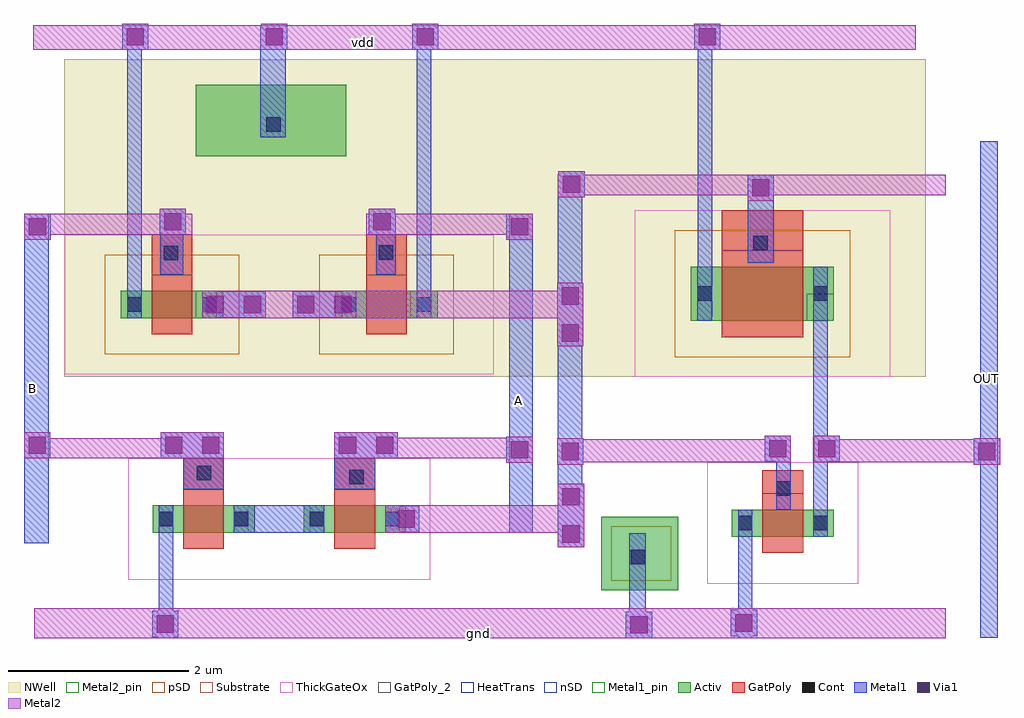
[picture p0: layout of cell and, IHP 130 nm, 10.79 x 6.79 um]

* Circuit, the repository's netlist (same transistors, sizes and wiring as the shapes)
** sch_path: /home/designer/shared/unicass_2026/Design_Files/github_clone_circuit_/UNI-CASS_Project_2025_IIT_DH/Clock_gen_using_transistor_hv/and.sch
.subckt and vdd B A gnd out
*.PININFO vdd:B B:B A:B gnd:B out:B
M3 net1 A vdd vdd sg13_hv_pmos w=0.3u l=0.45u ng=1 m=1
M1 net2 B gnd gnd sg13_hv_nmos w=0.3u l=0.45u ng=1 m=1
M2 net1 A net2 gnd sg13_hv_nmos w=0.3u l=0.45u ng=1 m=1
M4 net1 B vdd vdd sg13_hv_pmos w=0.3u l=0.45u ng=1 m=1
M5 out net1 vdd vdd sg13_hv_pmos w=0.6u l=0.9u ng=1 m=1
M6 out net1 gnd gnd sg13_hv_nmos w=0.3u l=0.45u ng=1 m=1
.ends

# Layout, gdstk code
import gdstk
lib = gdstk.Library(unit=1e-6, precision=1e-09)
def R(c, l, rs):  # rectangles x0, y0, x1, y1
    for r in rs: c.add(gdstk.rectangle(r[:2], r[2:], *l))
def P(c, l, *ps):  # polygons
    for p in ps: c.add(gdstk.Polygon(p, *l))
Activ = (1, 0)
GatPoly = (5, 0)
GatPoly_2 = (5, 2)
Cont = (6, 0)
nSD = (7, 0)
Metal1 = (8, 0)
Metal1_pin = (8, 2)
Metal2 = (10, 0)
Metal2_pin = (10, 2)
pSD = (14, 0)
Via1 = (19, 0)
NWell = (31, 0)
Substrate = (40, 0)
ThickGateOx = (44, 0)
HeatTrans = (51, 0)

pmoshv_1 = lib.new_cell('pmosHV$1')
R(pmoshv_1, Activ, [(0,0,0.3,0.3), (0,0,1.13,0.3), (0.83,0,1.13,0.3)])
R(pmoshv_1, GatPoly, [(0.34,-0.18,0.79,0.48)])
R(pmoshv_1, GatPoly_2, [(0.34,-0.18,0.79,0.48)])
R(pmoshv_1, Cont, [(0.07,0.07,0.23,0.23), (0.9,0.07,1.06,0.23)])
R(pmoshv_1, Metal1, [(0.07,0,0.23,0.3), (0.9,0,1.06,0.3)])
R(pmoshv_1, Metal1_pin, [(0.07,0,0.23,0.3), (0.9,0,1.06,0.3)])
R(pmoshv_1, pSD, [(-0.18,-0.4,1.31,0.7)])
R(pmoshv_1, NWell, [(-0.62,-0.62,1.75,0.92)])
R(pmoshv_1, Substrate, [(0.83,0,1.13,0.3)])
R(pmoshv_1, ThickGateOx, [(-0.62,-0.62,1.75,0.92)])
R(pmoshv_1, HeatTrans, [(0.34,-0.18,0.79,0.48)])
pmoshv_1.add(gdstk.Label('pmosHV', (0.565,0.15), layer=63, texttype=0))
pmoshv_1.add(gdstk.Label('pmos', (0.565,0.15), layer=51, texttype=0))

nmoshv_1 = lib.new_cell('nmosHV$1')
R(nmoshv_1, Activ, [(0,0,0.3,0.3), (0,0,1.13,0.3), (0.83,0,1.13,0.3)])
R(nmoshv_1, GatPoly, [(0.34,-0.18,0.79,0.48)])
R(nmoshv_1, GatPoly_2, [(0.34,-0.18,0.79,0.48)])
R(nmoshv_1, Cont, [(0.07,0.07,0.23,0.23), (0.9,0.07,1.06,0.23)])
R(nmoshv_1, Metal1, [(0.07,0,0.23,0.3), (0.9,0,1.06,0.3)])
R(nmoshv_1, Metal1_pin, [(0.07,0,0.23,0.3), (0.9,0,1.06,0.3)])
R(nmoshv_1, ThickGateOx, [(-0.27,-0.52,1.4,0.82)])
R(nmoshv_1, HeatTrans, [(0.34,-0.18,0.79,0.48)])
nmoshv_1.add(gdstk.Label('nmosHV', (0.565,0.15), layer=63, texttype=0))
nmoshv_1.add(gdstk.Label('nmosHV', (0.565,0.15), layer=51, texttype=0))

via_stack_3 = lib.new_cell('via_stack$3')
R(via_stack_3, Metal1, [(-0.145,-0.145,0.145,0.145)])
R(via_stack_3, Metal2, [(-0.145,-0.145,0.145,0.145)])
R(via_stack_3, Via1, [(-0.095,-0.095,0.095,0.095)])

via_stack = lib.new_cell('via_stack')
R(via_stack, Metal1, [(-0.145,-0.35,0.145,0.35)])
R(via_stack, Metal2, [(-0.145,-0.35,0.145,0.35)])
R(via_stack, Via1, [(-0.095,-0.3,0.095,-0.11), (-0.095,0.11,0.095,0.3)])

via_stack_1 = lib.new_cell('via_stack$1')
R(via_stack_1, Metal1, [(-0.35,-0.145,0.35,0.145)])
R(via_stack_1, Metal2, [(-0.35,-0.145,0.35,0.145)])
R(via_stack_1, Via1, [(-0.3,-0.095,-0.11,0.095), (0.11,-0.095,0.3,0.095)])

pmoshv = lib.new_cell('pmosHV')
R(pmoshv, Activ, [(0,0,0.3,0.3), (0,0,1.58,0.6), (1.28,0,1.58,0.3)])
R(pmoshv, GatPoly, [(0.34,-0.18,1.24,0.78)])
R(pmoshv, GatPoly_2, [(0.34,-0.18,1.24,0.78)])
R(pmoshv, Cont, [(0.07,0.22,0.23,0.38), (1.35,0.22,1.51,0.38)])
R(pmoshv, Metal1, [(0.07,0,0.23,0.6), (1.35,0,1.51,0.6)])
R(pmoshv, Metal1_pin, [(0.07,0,0.23,0.6), (1.35,0,1.51,0.6)])
R(pmoshv, pSD, [(-0.18,-0.4,1.76,1)])
R(pmoshv, NWell, [(-0.62,-0.62,2.2,1.22)])
R(pmoshv, Substrate, [(1.28,0,1.58,0.3)])
R(pmoshv, ThickGateOx, [(-0.62,-0.62,2.2,1.22)])
R(pmoshv, HeatTrans, [(0.34,-0.18,1.24,0.78)])
pmoshv.add(gdstk.Label('pmosHV', (0.79,0.3), layer=63, texttype=0))
pmoshv.add(gdstk.Label('pmos', (0.79,0.3), layer=51, texttype=0))

and_ = lib.new_cell('and')
R(and_, Activ, [(-1,-2.61,-0.15,-1.8), (-5.48,2.185,-3.82,2.975)])
R(and_, GatPoly, [(0.78,-1.54,1.23,-1.285), (-5.62,-1.495,-5.17,-1.155), (-3.95,-1.495,-3.5,-1.155), (-5.97,0.875,-5.52,1.315), (-3.6,0.875,-3.15,1.315), (0.33,1.145,1.23,1.585)])
R(and_, Cont, [(-0.675,-2.325,-0.515,-2.165), (0.935,-1.57,1.095,-1.41), (-3.785,-1.44,-3.625,-1.28), (-5.47,-1.395,-5.31,-1.235), (-5.835,1.035,-5.675,1.195), (-3.46,1.04,-3.3,1.2), (0.68,1.145,0.84,1.305), (-4.705,2.455,-4.545,2.615)])
R(and_, nSD, [(-5.48,2.185,-3.82,2.975)])
R(and_, Metal1, [(-5.89,-3.145,-5.73,-1.675), (-0.69,-3.14,-0.51,-1.98), (0.51,-3.14,0.67,-1.79), (3.185,-3.135,3.38,2.35), (-7.38,-2.095,-7.105,1.55), (1.34,-2.02,1.5,0.38), (-1.48,-1.98,-1.21,1.98), (-5.06,-1.975,-4.06,-1.675), (-2.02,-1.975,-1.76,1.55), (0.935,-1.72,1.095,-0.945), (-5.62,-1.495,-5.17,-0.935), (-3.95,-1.495,-3.5,-0.925), (-6.24,0.395,-6.08,3.63), (-3.04,0.395,-2.88,3.63), (0.065,0.405,0.225,3.63), (-5.875,0.875,-5.62,1.55), (-3.49,0.875,-3.27,1.55), (0.62,1.005,0.905,1.97), (-4.77,2.395,-4.49,3.63)])
R(and_, Metal1_pin, [(3.185,-3.135,3.38,2.35), (-7.38,-2.095,-7.105,1.55), (-2.02,-1.975,-1.76,1.55)])
R(and_, Metal2, [(-3.39,-1.975,-1.19,-1.675), (-1.48,-1.2,1.095,-0.945), (1.355,-1.2,3.38,-0.945), (-7.38,-1.155,-5.17,-0.935), (-3.95,-1.155,-1.76,-0.925), (-5.41,0.395,-1.21,0.695), (-7.38,1.315,-5.52,1.55), (-1.48,1.755,2.805,1.98), (-7.28,3.36,2.475,3.63)])
P(and_, Metal2, [(-3.6,1.315),(-3.6,1.55),(-1.79,1.55),(-1.79,1.545),(-1.76,1.545),(-1.76,1.315)],
  [(-7.265,-3.145),(-7.265,-2.81),(2.805,-2.81),(2.805,-3.14),(-1.77,-3.14),(-1.77,-3.145)])
R(and_, Metal2_pin, [(-7.265,-3.14,2.805,-2.81), (-7.28,3.36,2.475,3.63)])
R(and_, pSD, [(-0.89,-2.51,-0.225,-1.905)])
R(and_, NWell, [(-6.935,-0.255,2.585,3.255)])
and_.add(gdstk.Reference(pmoshv_1, (-3.94,0.395)))
and_.add(gdstk.Reference(nmoshv_1, (0.44,-2.02)))
and_.add(gdstk.Reference(pmoshv_1, (-6.31,0.395)))
and_.add(gdstk.Reference(nmoshv_1, (-4.29,-1.975)))
and_.add(gdstk.Reference(nmoshv_1, (-5.96,-1.975)))
and_.add(gdstk.Reference(via_stack_3, (-3.425,1.46)))
and_.add(gdstk.Reference(via_stack_3, (-5.735,1.46)))
and_.add(gdstk.Reference(via_stack, (-1.345,0.435)))
and_.add(gdstk.Reference(via_stack_1, (-3.6,-1.01)))
and_.add(gdstk.Reference(via_stack_1, (-5.52,-1.01)))
and_.add(gdstk.Reference(via_stack, (-1.335,-1.785)))
and_.add(gdstk.Reference(via_stack_3, (-1.33,1.875)))
and_.add(gdstk.Reference(via_stack_3, (-7.23,1.405)))
and_.add(gdstk.Reference(via_stack_3, (-7.235,-1.01)))
and_.add(gdstk.Reference(via_stack_3, (-1.905,-1.06)))
and_.add(gdstk.Reference(via_stack_3, (-1.905,1.405)))
and_.add(gdstk.Reference(via_stack_1, (-4.06,0.545)))
and_.add(gdstk.Reference(via_stack_1, (-5.06,0.545)))
and_.add(gdstk.Reference(via_stack_3, (-3.155,-1.825)))
and_.add(gdstk.Reference(via_stack_3, (0.76,1.835)))
and_.add(gdstk.Reference(via_stack_3, (0.17,3.505)))
and_.add(gdstk.Reference(via_stack_3, (-6.15,3.505)))
and_.add(gdstk.Reference(via_stack_3, (-2.945,3.505)))
and_.add(gdstk.Reference(via_stack_3, (-0.585,-2.995)))
and_.add(gdstk.Reference(via_stack_3, (-4.615,3.505)))
and_.add(gdstk.Reference(via_stack_3, (-1.345,-1.08)))
and_.add(gdstk.Reference(via_stack_3, (-5.82,-2.985)))
and_.add(gdstk.Reference(via_stack_3, (3.26,-1.08)))
and_.add(gdstk.Reference(via_stack_3, (0.575,-2.975)))
and_.add(gdstk.Reference(via_stack_3, (1.49,-1.05)))
and_.add(gdstk.Reference(pmoshv, (-0.01,0.365)))
and_.add(gdstk.Reference(via_stack_3, (0.95,-1.05)))
and_.add(gdstk.Label('OUT', (3.255,-0.275), layer=8, texttype=2))
and_.add(gdstk.Label('gnd', (-2.355,-3.095), layer=10, texttype=25))
and_.add(gdstk.Label('vdd', (-3.625,3.445), layer=10, texttype=25))
and_.add(gdstk.Label('B', (-7.285,-0.385), layer=8, texttype=25))
and_.add(gdstk.Label('A', (-1.915,-0.51), layer=8, texttype=25))

lib.write_gds('and.gds')
